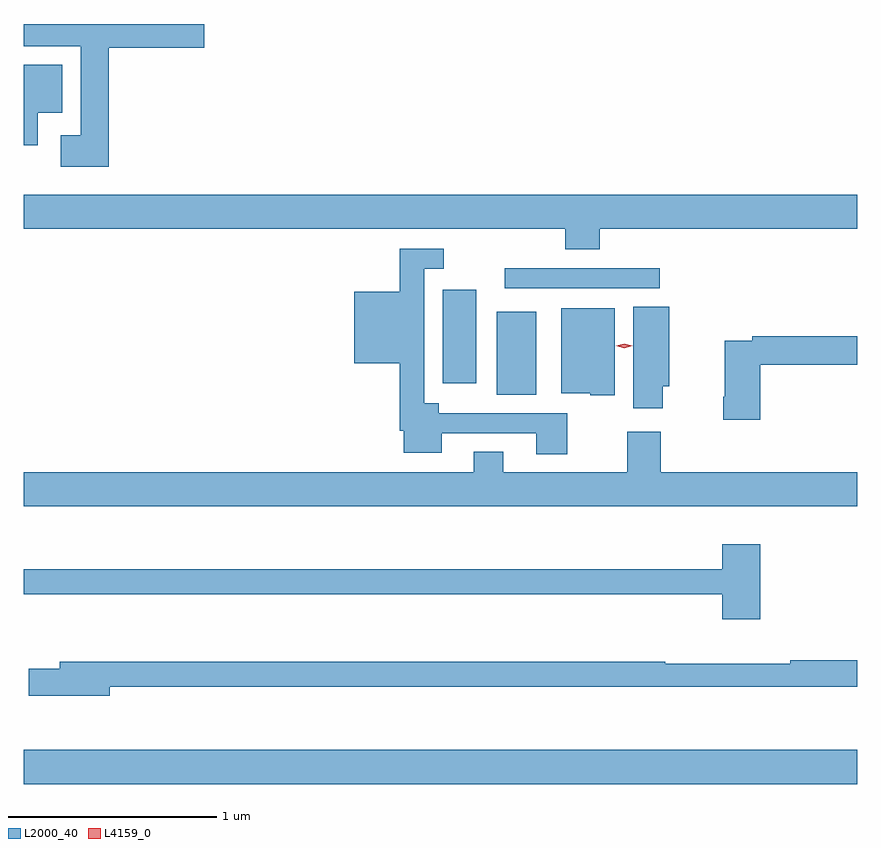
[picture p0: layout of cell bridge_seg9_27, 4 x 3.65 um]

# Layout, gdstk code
import gdstk
lib = gdstk.Library(unit=1e-6, precision=1e-09)
def R(c, l, rs):  # rectangles x0, y0, x1, y1
    for r in rs: c.add(gdstk.rectangle(r[:2], r[2:], *l))
def P(c, l, *ps):  # polygons
    for p in ps: c.add(gdstk.Polygon(p, *l))
L2000_40 = (2000, 40)
L4159_0 = (4159, 0)

bridge_seg9_27 = lib.new_cell('bridge_seg9_27')
R(bridge_seg9_27, L2000_40, [(950.525,1200.416,954.525,1200.58), (952.796,1202.285,952.984,1202.683), (952.535,1202.34,952.696,1202.788), (952.833,1202.796,953.578,1202.892)])
P(bridge_seg9_27, L2000_40, [(950.933,1203.95),(951.391,1203.95),(951.391,1204.063),(950.525,1204.063),(950.525,1203.956),(950.798,1203.956),(950.798,1203.529),(950.703,1203.529),(950.703,1203.377),(950.933,1203.377)],
  [(950.593,1203.638),(950.71,1203.638),(950.71,1203.868),(950.525,1203.868),(950.525,1203.48),(950.593,1203.48)],
  [(953.288,1203.08),(954.525,1203.08),(954.525,1203.244),(950.525,1203.244),(950.525,1203.08),(953.123,1203.08),(953.123,1202.981),(953.288,1202.981)],
  [(953.133,1202.196),(952.516,1202.196),(952.516,1202.242),(952.446,1202.242),(952.446,1202.539),(952.447,1202.539),(952.447,1202.889),(952.54,1202.889),(952.54,1202.985),(952.33,1202.985),(952.33,1202.779),(952.112,1202.779),(952.112,1202.435),(952.33,1202.435),(952.33,1202.11),(952.349,1202.11),(952.349,1202.006),(952.531,1202.006),(952.531,1202.1),(952.985,1202.1),(952.985,1201.998),(953.133,1201.998)],
  [(953.592,1202.324),(953.623,1202.324),(953.623,1202.707),(953.45,1202.707),(953.45,1202.22),(953.592,1202.22)],
  [(953.362,1202.698),(953.105,1202.698),(953.105,1202.291),(953.244,1202.291),(953.244,1202.282),(953.362,1202.282)],
  [(954.059,1202.428),(954.525,1202.428),(954.525,1202.564),(954.022,1202.564),(954.022,1202.544),(953.888,1202.544),(953.888,1202.275),(953.881,1202.275),(953.881,1202.163),(954.059,1202.163)],
  [(954.525,1201.912),(953.582,1201.912),(953.582,1202.107),(953.422,1202.107),(953.422,1201.912),(952.825,1201.912),(952.825,1202.011),(952.685,1202.011),(952.685,1201.912),(950.525,1201.912),(950.525,1201.748),(954.525,1201.748)],
  [(954.059,1201.567),(953.876,1201.567),(953.876,1201.447),(950.525,1201.447),(950.525,1201.326),(953.876,1201.326),(953.876,1201.206),(954.059,1201.206)],
  [(950.938,1200.882),(954.525,1200.882),(954.525,1201.01),(954.203,1201.01),(954.203,1200.992),(953.603,1200.992),(953.603,1201.003),(950.699,1201.003),(950.699,1200.969),(950.55,1200.969),(950.55,1200.839),(950.938,1200.839)])
P(bridge_seg9_27, L4159_0, [(953.407,1202.508),(953.369,1202.518),(953.369,1202.518),(953.369,1202.518),(953.407,1202.528),(953.444,1202.518),(953.444,1202.518),(953.444,1202.518)])

lib.write_gds('bridge_seg9_27.gds')
